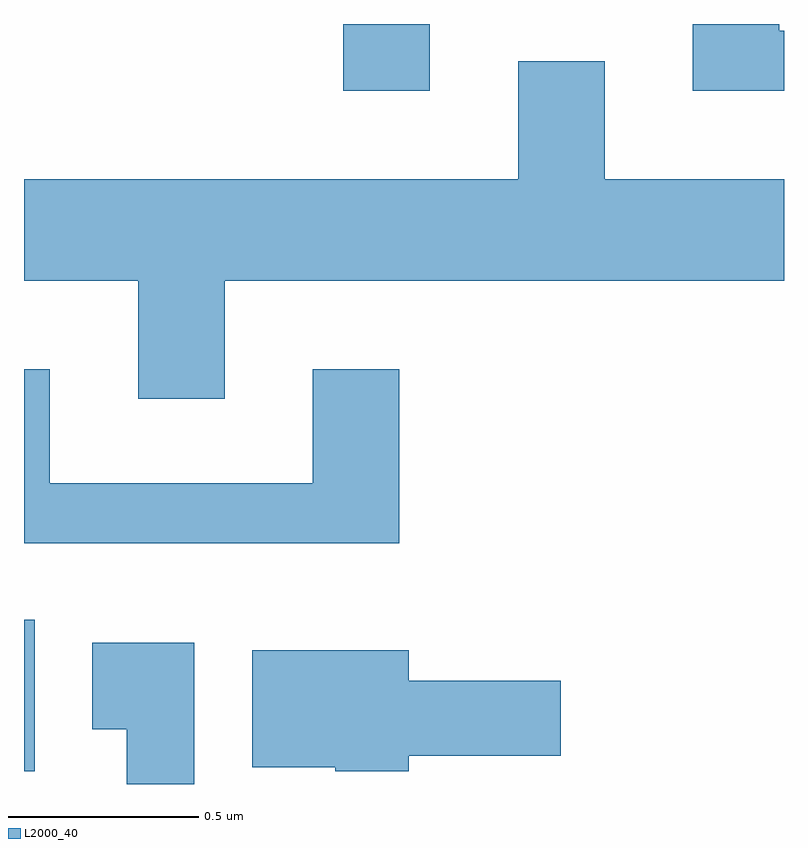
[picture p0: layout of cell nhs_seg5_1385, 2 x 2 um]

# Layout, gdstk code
import gdstk
lib = gdstk.Library(unit=1e-6, precision=1e-09)
def R(c, l, rs):  # rectangles x0, y0, x1, y1
    for r in rs: c.add(gdstk.rectangle(r[:2], r[2:], *l))
def P(c, l, *ps):  # polygons
    for p in ps: c.add(gdstk.Polygon(p, *l))
L2000_40 = (2000, 40)

nhs_seg5_1385 = lib.new_cell('nhs_seg5_1385')
R(nhs_seg5_1385, L2000_40, [(195.611,1411.106,195.639,1411.504), (196.451,1412.896,196.679,1413.072)])
P(nhs_seg5_1385, L2000_40, [(197.611,1413.054),(197.599,1413.054),(197.599,1413.072),(197.371,1413.072),(197.371,1412.896),(197.611,1412.896)],
  [(196.139,1412.396),(197.611,1412.396),(197.611,1412.664),(197.139,1412.664),(197.139,1412.974),(196.911,1412.974),(196.911,1412.664),(195.611,1412.664),(195.611,1412.396),(195.911,1412.396),(195.911,1412.086),(196.139,1412.086)],
  [(196.599,1412.164),(196.371,1412.164),(196.371,1411.864),(195.679,1411.864),(195.679,1412.164),(195.611,1412.164),(195.611,1411.706),(196.599,1411.706)],
  [(196.059,1411.444),(195.791,1411.444),(195.791,1411.216),(195.881,1411.216),(195.881,1411.072),(196.059,1411.072)],
  [(196.624,1411.146),(197.024,1411.146),(197.024,1411.344),(196.624,1411.344),(196.624,1411.424),(196.211,1411.424),(196.211,1411.116),(196.43,1411.116),(196.43,1411.106),(196.624,1411.106)])

lib.write_gds('nhs_seg5_1385.gds')
